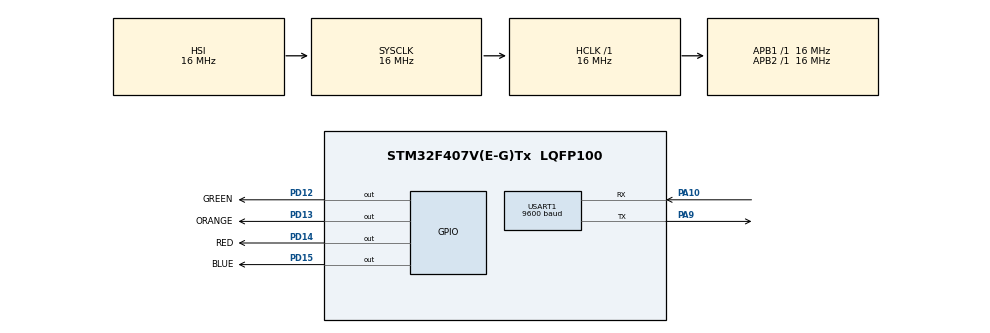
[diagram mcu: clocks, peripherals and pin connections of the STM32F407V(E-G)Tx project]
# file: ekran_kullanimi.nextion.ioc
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Mcu.Family=STM32F4
Mcu.Name=STM32F407V(E-G)Tx
Mcu.Package=LQFP100
NVIC.PriorityGroup=NVIC_PRIORITYGROUP_4
PA10.Mode=Asynchronous
PA10.Signal=USART1_RX
PA13.Mode=Serial_Wire
PA13.Signal=SYS_JTMS-SWDIO
PA14.Mode=Serial_Wire
PA14.Signal=SYS_JTCK-SWCLK
PA9.Mode=Asynchronous
PA9.Signal=USART1_TX
PD12.GPIO_Label=GREEN
PD12.Signal=GPIO_Output
PD13.GPIO_Label=ORANGE
PD13.Signal=GPIO_Output
PD14.GPIO_Label=RED
PD14.Signal=GPIO_Output
PD15.GPIO_Label=BLUE
PD15.Signal=GPIO_Output
ProjectManager.HeapSize=0x200
ProjectManager.StackSize=0x400
ProjectManager.TargetToolchain=STM32CubeIDE
RCC.AHBFreq_Value=16000000
RCC.APB1Freq_Value=16000000
RCC.APB2Freq_Value=16000000
RCC.CortexFreq_Value=16000000
RCC.HSE_VALUE=25000000
RCC.HSI_VALUE=16000000
RCC.LSE_VALUE=32768
RCC.SYSCLKFreq_VALUE=16000000
RCC.VCOOutputFreq_Value=192000000
USART1.BaudRate=9600
USART1.VirtualMode=VM_ASYNC
board=custom

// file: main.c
/* USER CODE BEGIN Header */
/**
  ******************************************************************************
  * @file           : main.c
  * @brief          : Main program body
  ******************************************************************************
  * @attention
  *
  * Copyright (c) 2023 STMicroelectronics.
  * All rights reserved.
  *
  * This software is licensed under terms that can be found in the LICENSE file
  * in the root directory of this software component.
  * If no LICENSE file comes with this software, it is provided AS-IS.
  *
  ******************************************************************************
  */
/* USER CODE END Header */
#include "main.h"

/* USER CODE BEGIN Includes */
#include <stdio.h>
#include <string.h>
/* USER CODE END Includes */

UART_HandleTypeDef huart1;

/* USER CODE BEGIN PV */
char rx_buff[8];
/* USER CODE END PV */

void SystemClock_Config(void);
static void MX_GPIO_Init(void);
static void MX_USART1_UART_Init(void);

/* USER CODE BEGIN 0 */
int UART_available(){
  return __HAL_UART_GET_FLAG(&huart1, UART_FLAG_RXNE) != RESET ? 1 : 0;
}
/* USER CODE END 0 */

int main(void)
{

  /* MCU Configuration--------------------------------------------------------*/

  /* Reset of all peripherals, Initializes the Flash interface and the Systick. */
  HAL_Init();

  /* Configure the system clock */
  SystemClock_Config();

  /* Initialize all configured peripherals */
  MX_GPIO_Init();
  MX_USART1_UART_Init();

  /* Infinite loop */
  while (1)
  {

    /* USER CODE BEGIN 3 */
      if(UART_available())
      {
    	  HAL_UART_Receive(&huart1, (uint8_t *)rx_buff, 8, HAL_MAX_DELAY);

          if(rx_buff[1]==0x65 && rx_buff[2]==0x00 && rx_buff[3]==0x01 && rx_buff[4]==0x01 && rx_buff[5]==0xFF && rx_buff[6]==0xFF && rx_buff[7]==0xFF){
              HAL_GPIO_WritePin(GPIOD, GREEN_Pin, GPIO_PIN_RESET);
              HAL_GPIO_WritePin(GPIOD, ORANGE_Pin, GPIO_PIN_SET);
              HAL_GPIO_WritePin(GPIOD, RED_Pin, GPIO_PIN_RESET);
              HAL_GPIO_WritePin(GPIOD, BLUE_Pin, GPIO_PIN_RESET);
          }
          else if(rx_buff[3]==0x02){
              HAL_GPIO_WritePin(GPIOD, GREEN_Pin, GPIO_PIN_SET);
              HAL_GPIO_WritePin(GPIOD, ORANGE_Pin, GPIO_PIN_RESET);
              HAL_GPIO_WritePin(GPIOD, RED_Pin, GPIO_PIN_RESET);
              HAL_GPIO_WritePin(GPIOD, BLUE_Pin, GPIO_PIN_RESET);
          }
          else if(rx_buff[3]==0x03){
              HAL_GPIO_WritePin(GPIOD, GREEN_Pin, GPIO_PIN_RESET);
              HAL_GPIO_WritePin(GPIOD, ORANGE_Pin, GPIO_PIN_RESET);
              HAL_GPIO_WritePin(GPIOD, RED_Pin, GPIO_PIN_RESET);
              HAL_GPIO_WritePin(GPIOD, BLUE_Pin, GPIO_PIN_SET);
          }
          else if(rx_buff[3]==0x04){
              HAL_GPIO_WritePin(GPIOD, GREEN_Pin, GPIO_PIN_RESET);
              HAL_GPIO_WritePin(GPIOD, ORANGE_Pin, GPIO_PIN_RESET);
              HAL_GPIO_WritePin(GPIOD, RED_Pin, GPIO_PIN_SET);
              HAL_GPIO_WritePin(GPIOD, BLUE_Pin, GPIO_PIN_RESET);
          }
      }
      HAL_Delay(500);
  }
  /* USER CODE END 3 */
}

void SystemClock_Config(void)
{
  RCC_OscInitTypeDef RCC_OscInitStruct = {0};
  RCC_ClkInitTypeDef RCC_ClkInitStruct = {0};

  /** Configure the main internal regulator output voltage
  */
  __HAL_RCC_PWR_CLK_ENABLE();
  __HAL_PWR_VOLTAGESCALING_CONFIG(PWR_REGULATOR_VOLTAGE_SCALE1);

  /** Initializes the RCC Oscillators according to the specified parameters
  * in the RCC_OscInitTypeDef structure.
  */
  RCC_OscInitStruct.OscillatorType = RCC_OSCILLATORTYPE_HSI;
  RCC_OscInitStruct.HSIState = RCC_HSI_ON;
  RCC_OscInitStruct.HSICalibrationValue = RCC_HSICALIBRATION_DEFAULT;
  RCC_OscInitStruct.PLL.PLLState = RCC_PLL_NONE;
  if (HAL_RCC_OscConfig(&RCC_OscInitStruct) != HAL_OK)
  {
    Error_Handler();
  }

  /** Initializes the CPU, AHB and APB buses clocks
  */
  RCC_ClkInitStruct.ClockType = RCC_CLOCKTYPE_HCLK|RCC_CLOCKTYPE_SYSCLK
                              |RCC_CLOCKTYPE_PCLK1|RCC_CLOCKTYPE_PCLK2;
  RCC_ClkInitStruct.SYSCLKSource = RCC_SYSCLKSOURCE_HSI;
  RCC_ClkInitStruct.AHBCLKDivider = RCC_SYSCLK_DIV1;
  RCC_ClkInitStruct.APB1CLKDivider = RCC_HCLK_DIV1;
  RCC_ClkInitStruct.APB2CLKDivider = RCC_HCLK_DIV1;

  if (HAL_RCC_ClockConfig(&RCC_ClkInitStruct, FLASH_LATENCY_0) != HAL_OK)
  {
    Error_Handler();
  }
}

static void MX_USART1_UART_Init(void)
{

  huart1.Instance = USART1;
  huart1.Init.BaudRate = 9600;
  huart1.Init.WordLength = UART_WORDLENGTH_8B;
  huart1.Init.StopBits = UART_STOPBITS_1;
  huart1.Init.Parity = UART_PARITY_NONE;
  huart1.Init.Mode = UART_MODE_TX_RX;
  huart1.Init.HwFlowCtl = UART_HWCONTROL_NONE;
  huart1.Init.OverSampling = UART_OVERSAMPLING_16;
  if (HAL_UART_Init(&huart1) != HAL_OK)
  {
    Error_Handler();
  }

}

static void MX_GPIO_Init(void)
{
  GPIO_InitTypeDef GPIO_InitStruct = {0};

  /* GPIO Ports Clock Enable */
  __HAL_RCC_GPIOD_CLK_ENABLE();
  __HAL_RCC_GPIOA_CLK_ENABLE();

  /*Configure GPIO pin Output Level */
  HAL_GPIO_WritePin(GPIOD, GREEN_Pin|ORANGE_Pin|RED_Pin|BLUE_Pin, GPIO_PIN_RESET);

  /*Configure GPIO pins : GREEN_Pin ORANGE_Pin RED_Pin BLUE_Pin */
  GPIO_InitStruct.Pin = GREEN_Pin|ORANGE_Pin|RED_Pin|BLUE_Pin;
  GPIO_InitStruct.Mode = GPIO_MODE_OUTPUT_PP;
  GPIO_InitStruct.Pull = GPIO_NOPULL;
  GPIO_InitStruct.Speed = GPIO_SPEED_FREQ_LOW;
  HAL_GPIO_Init(GPIOD, &GPIO_InitStruct);

}

void Error_Handler(void)
{
  __disable_irq();
  while (1)
  {
  }
}
